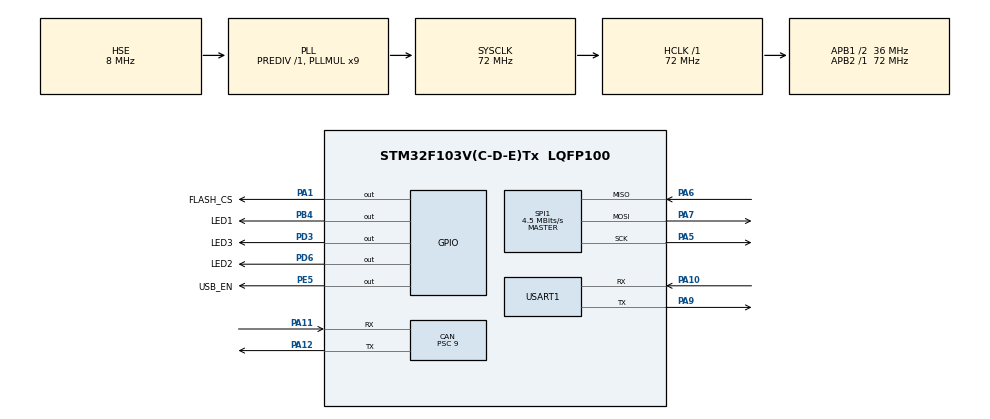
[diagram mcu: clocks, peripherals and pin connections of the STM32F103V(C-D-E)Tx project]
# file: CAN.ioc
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CAN.BS1=CAN_BS1_5TQ
CAN.BS2=CAN_BS2_2TQ
CAN.CalculateBaudRate=500000
CAN.CalculateTimeBit=2000
CAN.CalculateTimeQuantum=250.0
CAN.Mode=CAN_MODE_LOOPBACK
CAN.Prescaler=9
Mcu.Family=STM32F1
Mcu.Name=STM32F103V(C-D-E)Tx
Mcu.Package=LQFP100
NVIC.CAN1_RX1_IRQn=true\:0\:0\:false\:false\:true\:true\:true\:true
NVIC.CAN1_SCE_IRQn=true\:0\:0\:false\:false\:true\:true\:true\:true
NVIC.PriorityGroup=NVIC_PRIORITYGROUP_4
NVIC.USART1_IRQn=true\:0\:0\:false\:false\:true\:true\:true\:true
NVIC.USB_HP_CAN1_TX_IRQn=true\:0\:0\:false\:false\:true\:true\:true\:true
NVIC.USB_LP_CAN1_RX0_IRQn=true\:0\:0\:false\:false\:true\:true\:true\:true
OSC_IN.Mode=HSE-External-Oscillator
OSC_IN.Signal=RCC_OSC_IN
OSC_OUT.Mode=HSE-External-Oscillator
OSC_OUT.Signal=RCC_OSC_OUT
PA1.GPIO_Label=FLASH_CS
PA1.GPIO_PuPd=GPIO_PULLUP
PA1.GPIO_Speed=GPIO_SPEED_FREQ_HIGH
PA1.PinState=GPIO_PIN_SET
PA1.Signal=GPIO_Output
PA10.Mode=Asynchronous
PA10.Signal=USART1_RX
PA11.Mode=CAN_Activate
PA11.Signal=CAN_RX
PA12.Mode=CAN_Activate
PA12.Signal=CAN_TX
PA13.Mode=Serial_Wire
PA13.Signal=SYS_JTMS-SWDIO
PA14.Mode=Serial_Wire
PA14.Signal=SYS_JTCK-SWCLK
PA5.Mode=Full_Duplex_Master
PA5.Signal=SPI1_SCK
PA6.Mode=Full_Duplex_Master
PA6.Signal=SPI1_MISO
PA7.Mode=Full_Duplex_Master
PA7.Signal=SPI1_MOSI
PA9.Mode=Asynchronous
PA9.Signal=USART1_TX
PB4.GPIO_Label=LED1
PB4.GPIO_Speed=GPIO_SPEED_FREQ_HIGH
PB4.PinState=GPIO_PIN_SET
PB4.Signal=GPIO_Output
PC14-OSC32_IN.Mode=LSE-External-Oscillator
PC14-OSC32_IN.Signal=RCC_OSC32_IN
PC15-OSC32_OUT.Mode=LSE-External-Oscillator
PC15-OSC32_OUT.Signal=RCC_OSC32_OUT
PD3.GPIO_Label=LED3
PD3.GPIO_Speed=GPIO_SPEED_FREQ_HIGH
PD3.PinState=GPIO_PIN_SET
PD3.Signal=GPIO_Output
PD6.GPIO_Label=LED2
PD6.GPIO_Speed=GPIO_SPEED_FREQ_HIGH
PD6.PinState=GPIO_PIN_SET
PD6.Signal=GPIO_Output
PE5.GPIO_Label=USB_EN
PE5.GPIO_PuPd=GPIO_NOPULL
PE5.GPIO_Speed=GPIO_SPEED_FREQ_HIGH
PE5.PinState=GPIO_PIN_SET
PE5.Signal=GPIO_Output
ProjectManager.HeapSize=0x1000
ProjectManager.StackSize=0x1000
ProjectManager.TargetToolchain=Makefile
RCC.AHBFreq_Value=72000000
RCC.APB1CLKDivider=RCC_HCLK_DIV2
RCC.APB1Freq_Value=36000000
RCC.APB1TimFreq_Value=72000000
RCC.APB2Freq_Value=72000000
RCC.APB2TimFreq_Value=72000000
RCC.HCLKFreq_Value=72000000
RCC.PLLMUL=RCC_PLL_MUL9
RCC.PLLSourceVirtual=RCC_PLLSOURCE_HSE
RCC.SYSCLKFreq_VALUE=72000000
RCC.SYSCLKSource=RCC_SYSCLKSOURCE_PLLCLK
RCC.USBFreq_Value=48000000
RCC.USBPrescaler=RCC_USBCLKSOURCE_PLL_DIV1_5
SPI1.BaudRatePrescaler=SPI_BAUDRATEPRESCALER_16
SPI1.CalculateBaudRate=4.5 MBits/s
SPI1.Direction=SPI_DIRECTION_2LINES
SPI1.Mode=SPI_MODE_MASTER
SPI1.VirtualType=VM_MASTER
USART1.VirtualMode=VM_ASYNC
board=custom

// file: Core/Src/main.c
/* USER CODE BEGIN Header */
/**
 ******************************************************************************
 * @file           : main.c
 * @brief          : Main program body
 ******************************************************************************
 * @attention
 *
 * Copyright (c) 2024 STMicroelectronics.
 * All rights reserved.
 *
 * This software is licensed under terms that can be found in the LICENSE file
 * in the root directory of this software component.
 * If no LICENSE file comes with this software, it is provided AS-IS.
 *
 ******************************************************************************
 */
/* USER CODE END Header */
#include "main.h"
#include "can.h"
#include "spi.h"
#include "usart.h"
#include "gpio.h"

/* USER CODE BEGIN Includes */
#include "stdio.h"
/* USER CODE END Includes */

void SystemClock_Config(void);
/* USER CODE BEGIN PFP */
void CAN_Test(void);
void filter_init(void);
/* USER CODE END PFP */

/* USER CODE BEGIN 0 */
// CAN_HandleTypeDef hcan;
// CAN全局变量
CAN_TxHeaderTypeDef TxHeaderCAN;
CAN_RxHeaderTypeDef RxHeaderCAN;
uint8_t TxDataCAN[8], RxDataCAN[8];
uint8_t CAN_Rx_Flag = 0; // CAN接收标志
/* USER CODE END 0 */

int main(void)
{

  /* MCU Configuration--------------------------------------------------------*/

  /* Reset of all peripherals, Initializes the Flash interface and the Systick. */
  HAL_Init();

  /* Configure the system clock */
  SystemClock_Config();

  /* Initialize all configured peripherals */
  MX_GPIO_Init();
  MX_SPI1_Init();
  MX_USART1_UART_Init();
  MX_CAN_Init();
  /* USER CODE BEGIN 2 */
  filter_init();
  CAN_Test();
  /* USER CODE END 2 */

  /* Infinite loop */
  /* USER CODE BEGIN WHILE */
  while (1)
  {
    // 处理CAN接收数据
    if (CAN_Rx_Flag)
    {
      CAN_Rx_Flag = 0; // 清空CAN接收标志
      printf("CAN receive data:\r\n");
      for (int i = 0; i < 8; i++)
        printf(" 0x%02x", RxDataCAN[i]);
      printf("\r\n");
    }
    /* USER CODE END WHILE */

    /* USER CODE BEGIN 3 */
    HAL_GPIO_TogglePin(LED1_GPIO_Port, LED1_Pin);
  }
  /* USER CODE END 3 */
}

void SystemClock_Config(void)
{
  RCC_OscInitTypeDef RCC_OscInitStruct = {0};
  RCC_ClkInitTypeDef RCC_ClkInitStruct = {0};

  /** Initializes the RCC Oscillators according to the specified parameters
  * in the RCC_OscInitTypeDef structure.
  */
  RCC_OscInitStruct.OscillatorType = RCC_OSCILLATORTYPE_HSE;
  RCC_OscInitStruct.HSEState = RCC_HSE_ON;
  RCC_OscInitStruct.HSEPredivValue = RCC_HSE_PREDIV_DIV1;
  RCC_OscInitStruct.HSIState = RCC_HSI_ON;
  RCC_OscInitStruct.PLL.PLLState = RCC_PLL_ON;
  RCC_OscInitStruct.PLL.PLLSource = RCC_PLLSOURCE_HSE;
  RCC_OscInitStruct.PLL.PLLMUL = RCC_PLL_MUL9;
  if (HAL_RCC_OscConfig(&RCC_OscInitStruct) != HAL_OK)
  {
    Error_Handler();
  }

  /** Initializes the CPU, AHB and APB buses clocks
  */
  RCC_ClkInitStruct.ClockType = RCC_CLOCKTYPE_HCLK|RCC_CLOCKTYPE_SYSCLK
                              |RCC_CLOCKTYPE_PCLK1|RCC_CLOCKTYPE_PCLK2;
  RCC_ClkInitStruct.SYSCLKSource = RCC_SYSCLKSOURCE_PLLCLK;
  RCC_ClkInitStruct.AHBCLKDivider = RCC_SYSCLK_DIV1;
  RCC_ClkInitStruct.APB1CLKDivider = RCC_HCLK_DIV2;
  RCC_ClkInitStruct.APB2CLKDivider = RCC_HCLK_DIV1;

  if (HAL_RCC_ClockConfig(&RCC_ClkInitStruct, FLASH_LATENCY_2) != HAL_OK)
  {
    Error_Handler();
  }
}

/* USER CODE BEGIN 4 */
void filter_init(void)
{
  HAL_StatusTypeDef HAL_Status;
  CAN_FilterTypeDef Filter0;
  Filter0.FilterBank = 1; // 滤波器编�?
  Filter0.FilterMode = CAN_FILTERMODE_IDMASK;
  Filter0.FilterScale = CAN_FILTERSCALE_32BIT;
  Filter0.FilterIdHigh = 0x00;
  Filter0.FilterIdLow = 0x00;
  Filter0.FilterMaskIdHigh = 0x00;
  Filter0.FilterMaskIdLow = 0x00;
  Filter0.FilterFIFOAssignment = CAN_FILTER_FIFO0;
  Filter0.FilterActivation = CAN_FILTER_ENABLE;

  HAL_Status = HAL_CAN_ConfigFilter(&hcan, &Filter0);
  if (HAL_Status != HAL_OK)
  {
    printf("CAN Filter set Fail!code:%d\r\n", HAL_Status);
    Error_Handler();
  }
}
void CAN_Test(void)
{
  // 发�?�数据CAN
  TxHeaderCAN.ExtId = 0x1800F001;
  TxHeaderCAN.DLC = 8;
  TxHeaderCAN.IDE = CAN_ID_STD;
  TxHeaderCAN.RTR = CAN_RTR_DATA;
  TxHeaderCAN.StdId = 0x01;
  TxHeaderCAN.TransmitGlobalTime = ENABLE;

  uint32_t TxMailBox;
  HAL_StatusTypeDef HAL_Status;
  printf("\r\n\r\n------------------CAN test------------------\r\n\r\n");
  for (int i = 0; i < 8; ++i)
    TxDataCAN[i] = i;
  printf("CAN send data:\r\n");
  for (int i = 0; i < 8; ++i)
    printf(" 0x%02x", TxDataCAN[i]);
  printf("\r\n");
  HAL_CAN_AddTxMessage(&hcan, &TxHeaderCAN, TxDataCAN, &TxMailBox);
}
// 重定义CAN接收中断回调函数
void HAL_CAN_RxFifo0MsgPendingCallback(CAN_HandleTypeDef *hcan)
{
  HAL_GPIO_TogglePin(LED2_GPIO_Port, LED2_Pin);
  HAL_StatusTypeDef HAL_Status;
  if (hcan->Instance == CAN1)
  {
    HAL_Status = HAL_CAN_GetRxMessage(hcan, CAN_RX_FIFO0, &RxHeaderCAN, RxDataCAN);
    if (HAL_Status == HAL_OK)
    {
      // 处理接收数据
      CAN_Rx_Flag = 1;
    }
  }
}
#ifdef __GNUC__
#define PUTCHAR_PROTOTYPE int __io_putchar(int ch)
#else
#define PUTCHAR_PROTOTYPE int fputc(int ch.FILE *f)
#endif /* __GNUC__ */

// 重定向printf函数
PUTCHAR_PROTOTYPE
{
  HAL_UART_Transmit(&huart1, (uint8_t *)&ch, 1, 0xFFFF); // 输出指向串口USART1
  return ch;
}
/* USER CODE END 4 */

void Error_Handler(void)
{
  __disable_irq();
  while (1)
  {
  }
}
